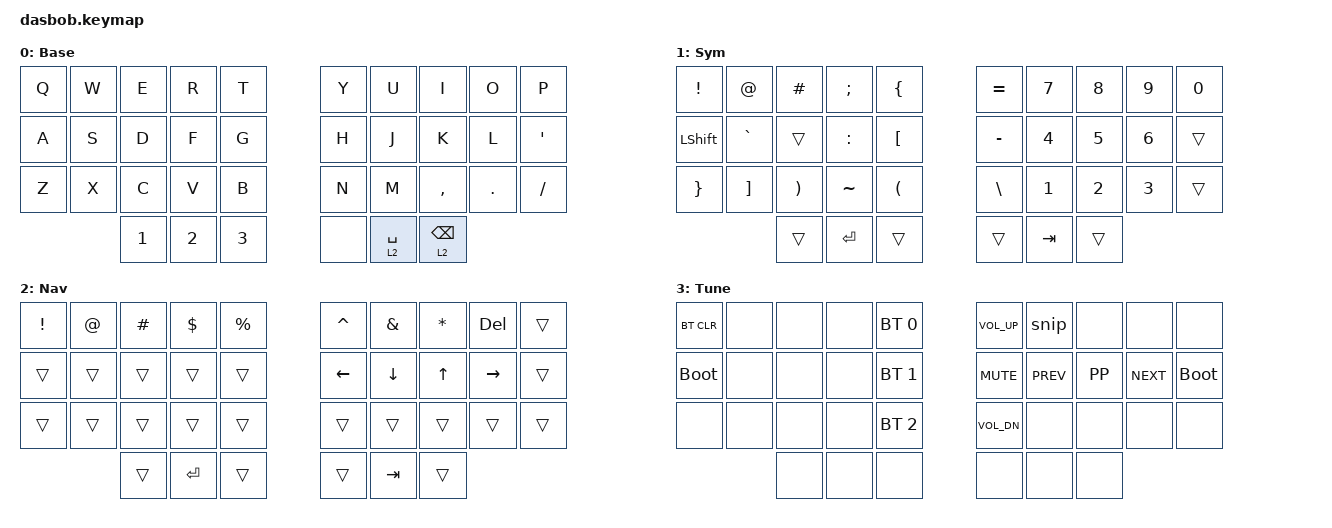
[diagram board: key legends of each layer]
#include <behaviors.dtsi>
#include <dt-bindings/zmk/bt.h>
#include <dt-bindings/zmk/keys.h>

/ {
    

    macros {
        snip: snip {
            compatible = "zmk,behavior-macro";
            #binding-cells = <0>;
            bindings = <&kp LSHFT &kp LEFT_GUI &kp S>;
            label = "SNIP";
        };

        lock: lock {
            compatible = "zmk,behavior-macro";
            #binding-cells = <0>;
            bindings = <&kp LEFT_GUI &kp L>;
            label = "LOCK";
        };
    };

    combos {
        compatible = "zmk,combos";

        to_base {
            bindings = <&to 0>;
            key-positions = <13 16>;
        };

        to_cyr {
            bindings = <&none>;
            key-positions = <14 15>;
        };
    };

    keymap {
        compatible = "zmk,keymap";

        Base {
            label = "Base";
            bindings = <
&kp Q         &kp W        &kp E        &kp R         &kp T  &kp Y  &kp U         &kp I            &kp O             &kp P
&kp A         &kp S        &kp D        &kp F         &kp G  &kp H  &kp J         &kp K            &kp L             &kp SQT
&kp Z         &kp X        &kp C        &kp V         &kp B  &kp N  &kp M         &kp COMMA        &kp DOT           &kp SLASH
                           &kp N1   &kp N2  &kp N3  &none  &lt 2 SPACE   &lt 2 BACKSPACE
            >;
        };

        Sym {
            label = "Sym";
            bindings = <
&kp EXCL   &kp AT     &kp HASH  &kp SEMI   &kp LBRC  &kp EQUAL  &kp N7   &kp N8  &kp N9  &kp N0
&kp LSHFT  &kp GRAVE  &trans    &kp COLON  &kp LBKT  &kp MINUS  &kp N4   &kp N5  &kp N6  &trans
&kp RBRC   &kp RBKT   &kp RPAR  &kp TILDE  &kp LPAR  &kp BSLH   &kp N1   &kp N2  &kp N3  &trans
                      &trans    &kp ENTER  &trans    &trans     &kp TAB  &trans
            >;
        };

        Nav {
            label = "Nav";
            bindings = <
&kp EXCL  &kp AT  &kp HASH  &kp DOLLAR  &kp PERCENT  &kp CARET       &kp AMPS        &kp STAR      &kp DEL          &trans
&trans    &trans  &trans    &trans      &trans       &kp LEFT_ARROW  &kp DOWN_ARROW  &kp UP_ARROW  &kp RIGHT_ARROW  &trans
&trans    &trans  &trans    &trans      &trans       &trans          &trans          &trans        &trans           &trans
                  &trans    &kp ENTER   &trans       &trans          &kp TAB         &trans
            >;
        };

        Tune {
            label = "Tune";
            bindings = <
&bt BT_CLR   &none  &none  &none  &bt BT_SEL 0  &kp C_VOLUME_UP  &snip       &none     &none       &none
&bootloader  &none  &none  &none  &bt BT_SEL 1  &kp K_MUTE       &kp K_PREV  &kp K_PP  &kp K_NEXT  &bootloader
&none        &none  &none  &none  &bt BT_SEL 2  &kp C_VOL_DN     &none       &none     &none       &none
                    &none  &none  &none         &none            &none       &none
            >;
        };
    };

    conditional_layers {
        compatible = "zmk,conditional-layers";

        raise_lower {
            if-layers = <2 1>;
            then-layer = <3>;
        };
    };
};
